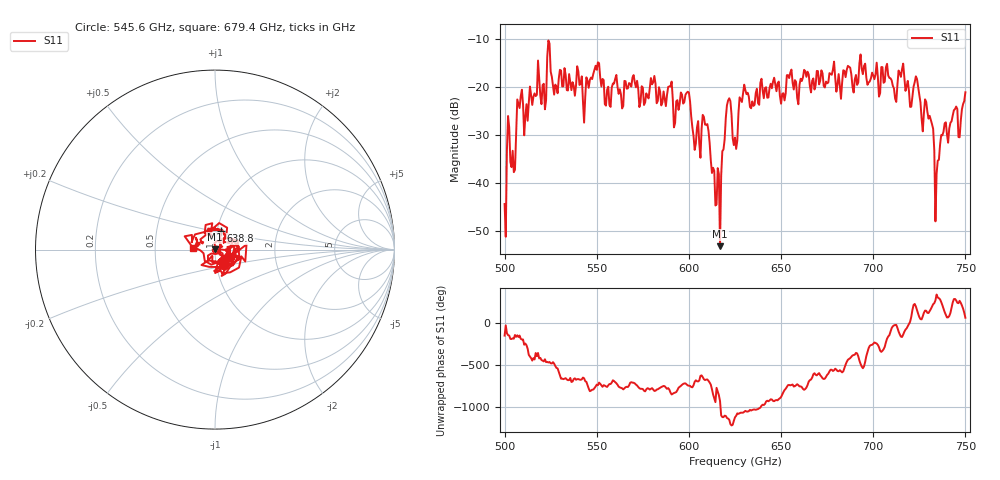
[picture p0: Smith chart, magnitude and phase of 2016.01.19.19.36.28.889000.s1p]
!Created with skrf (http://scikit-rf.org).
# GHz S RI R 50.0
!freq ReS11 ImS11
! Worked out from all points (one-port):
!   401 points, 500 GHz to 750 GHz, reference 50 ohm
!   lowest |S11| = -53.3 dB at 616.9 GHz (marker M1), VSWR 1.00, Z = 49.8 + j0.107 ohm
!   |S11| at or under -10 dB: start of sweep to end of sweep
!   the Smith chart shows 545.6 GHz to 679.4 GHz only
!   S11 on the Smith chart (normalised r, x): 545.6 GHz: 1.08, -0.19; 638.8 GHz: 1.05, +0.22; 679.4 GHz: 0.78, +0.02
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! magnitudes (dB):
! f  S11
! 500 GHz  -44.4
! 502.5 GHz  -28.4
! 504.4 GHz  -33.3
! 508.1 GHz  -24.4
! 521.2 GHz  -19.3
! 524.4 GHz  -10.9
! 527.5 GHz  -19.5
! 531.2 GHz  -19.9
! 545.6 GHz  -20.2
! 562.5 GHz  -20.4
! 580.6 GHz  -19.0
! 593.8 GHz  -22.7
! 605 GHz  -27.1
! 608.8 GHz  -27.8
! 615.6 GHz  -37.0
! 616.9 GHz  -53.3
! 621.2 GHz  -22.8
! 625 GHz  -30.5
! 628.8 GHz  -23.1
! 638.8 GHz  -19.1
! 656.2 GHz  -19.1
! 679.4 GHz  -18.1
! 687.5 GHz  -15.9
! 718.8 GHz  -18.7
! 729.4 GHz  -25.2
! 734.4 GHz  -38.2
! 738.1 GHz  -29.3
! 750 GHz  -21.1
